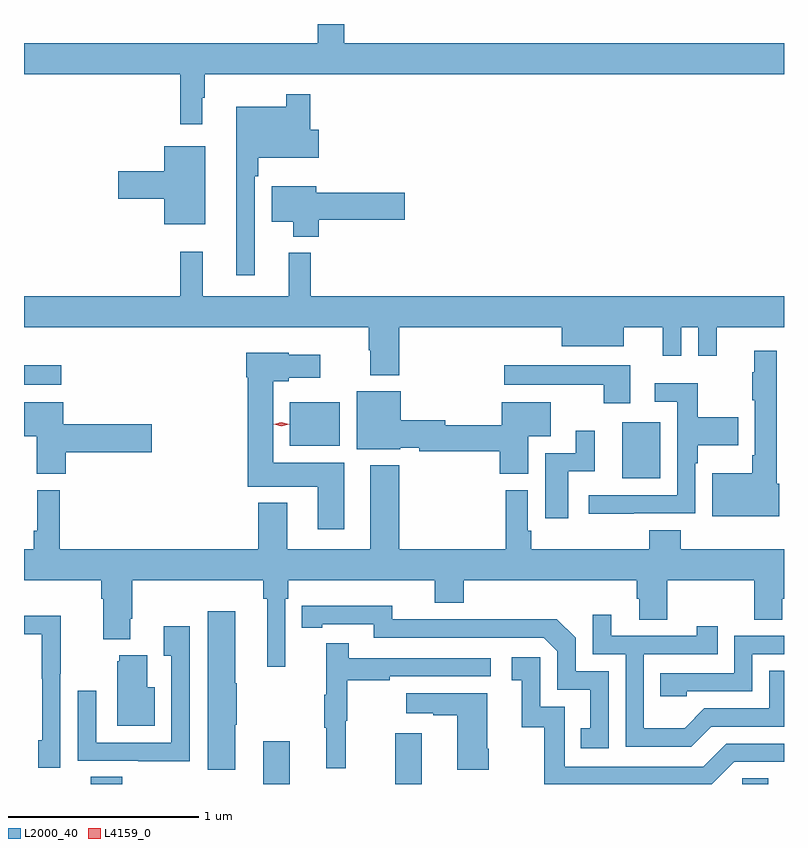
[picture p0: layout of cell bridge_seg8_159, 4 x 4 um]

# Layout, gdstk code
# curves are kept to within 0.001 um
import gdstk
lib = gdstk.Library(unit=1e-6, precision=1e-09)
def R(c, l, rs):  # rectangles x0, y0, x1, y1
    for r in rs: c.add(gdstk.rectangle(r[:2], r[2:], *l))
def P(c, l, *ps):  # polygons
    for p in ps: c.add(gdstk.Polygon(p, *l))
L2000_40 = (2000, 40)
L4159_0 = (4159, 0)

bridge_seg8_159 = lib.new_cell('bridge_seg8_159')
R(bridge_seg8_159, L2000_40, [(551.471,1131.412,551.636,1131.449), (552.377,1131.412,552.517,1131.637), (553.073,1131.412,553.213,1131.679), (554.898,1131.412,555.037,1131.443), (554.267,1133.021,554.467,1133.317), (552.518,1133.192,552.781,1133.422), (551.119,1133.513,551.314,1133.617)])
P(bridge_seg8_159, L2000_40, [(552.058,1135.025),(552.07,1135.025),(552.07,1135.148),(555.119,1135.148),(555.119,1135.312),(552.805,1135.312),(552.805,1135.412),(552.666,1135.412),(552.666,1135.312),(551.119,1135.312),(551.119,1135.148),(551.941,1135.148),(551.941,1134.885),(552.058,1134.885)],
  [(552.333,1134.611),(552.353,1134.611),(552.353,1134.707),(552.67,1134.707),(552.67,1134.855),(552.626,1134.855),(552.626,1135.042),(552.498,1135.042),(552.498,1134.976),(552.236,1134.976),(552.236,1134.09),(552.333,1134.09)],
  [(552.073,1134.769),(551.858,1134.769),(551.858,1134.638),(551.616,1134.638),(551.616,1134.491),(551.858,1134.491),(551.858,1134.359),(552.073,1134.359)],
  [(552.671,1134.382),(553.123,1134.382),(553.123,1134.524),(552.658,1134.524),(552.658,1134.559),(552.422,1134.559),(552.422,1134.371),(552.536,1134.371),(552.536,1134.293),(552.671,1134.293)],
  [(553.094,1133.816),(553.949,1133.816),(553.949,1133.717),(554.275,1133.717),(554.275,1133.816),(554.48,1133.816),(554.48,1133.667),(554.577,1133.667),(554.577,1133.816),(554.667,1133.816),(554.667,1133.667),(554.765,1133.667),(554.765,1133.816),(555.119,1133.816),(555.119,1133.98),(552.629,1133.98),(552.629,1134.208),(552.512,1134.208),(552.512,1133.98),(552.059,1133.98),(552.059,1134.214),(551.941,1134.214),(551.941,1133.98),(551.119,1133.98),(551.119,1133.816),(552.934,1133.816),(552.934,1133.696),(552.941,1133.696),(552.941,1133.564),(553.094,1133.564)],
  [(555.094,1132.991),(555.08,1132.991),(555.08,1133.692),(554.963,1133.692),(554.963,1133.579),(554.952,1133.579),(554.952,1133.431),(554.964,1133.431),(554.964,1133.143),(554.952,1133.143),(554.952,1133.047),(554.741,1133.047),(554.741,1132.82),(555.094,1132.82)],
  [(552.805,1133.104),(552.43,1133.104),(552.43,1133.531),(552.513,1133.531),(552.513,1133.549),(552.679,1133.549),(552.679,1133.671),(552.513,1133.671),(552.513,1133.683),(552.29,1133.683),(552.29,1133.553),(552.296,1133.553),(552.296,1132.976),(552.665,1132.976),(552.665,1132.752),(552.805,1132.752)],
  [(554.311,1133.617),(553.647,1133.617),(553.647,1133.513),(554.171,1133.513),(554.171,1133.415),(554.311,1133.415)],
  [(554.327,1132.836),(554.652,1132.836),(554.652,1133.099),(554.665,1133.099),(554.665,1133.195),(554.879,1133.195),(554.879,1133.343),(554.665,1133.343),(554.665,1133.521),(554.439,1133.521),(554.439,1133.424),(554.556,1133.424),(554.556,1132.932),(554.091,1132.932),(554.091,1132.835),(554.327,1132.835)],
  [(553.774,1133.243),(553.891,1133.243),(553.891,1133.422),(553.634,1133.422),(553.634,1133.3),(553.336,1133.3),(553.336,1133.327),(553.102,1133.327),(553.102,1133.479),(552.869,1133.479),(552.869,1133.174),(553.098,1133.174),(553.098,1133.183),(553.198,1133.183),(553.198,1133.164),(553.622,1133.164),(553.622,1133.046),(553.774,1133.046)],
  [(551.339,1133.159),(551.791,1133.159),(551.791,1133.306),(551.326,1133.306),(551.326,1133.422),(551.119,1133.422),(551.119,1133.243),(551.186,1133.243),(551.186,1133.046),(551.339,1133.046)],
  [(553.984,1133.058),(554.122,1133.058),(554.122,1133.272),(554.024,1133.272),(554.024,1133.154),(553.862,1133.154),(553.862,1132.812),(553.984,1132.812)],
  [(552.495,1132.388),(552.509,1132.388),(552.509,1132.484),(553.28,1132.484),(553.28,1132.367),(553.433,1132.367),(553.433,1132.484),(554.345,1132.484),(554.345,1132.386),(554.357,1132.386),(554.357,1132.276),(554.505,1132.276),(554.505,1132.484),(554.962,1132.484),(554.962,1132.276),(555.109,1132.276),(555.109,1132.386),(555.119,1132.386),(555.119,1132.648),(554.576,1132.648),(554.576,1132.747),(554.411,1132.747),(554.411,1132.648),(553.79,1132.648),(553.79,1132.744),(553.77,1132.744),(553.77,1132.957),(553.654,1132.957),(553.654,1132.648),(553.094,1132.648),(553.094,1133.089),(552.941,1133.089),(552.941,1132.648),(552.505,1132.648),(552.505,1132.891),(552.353,1132.891),(552.353,1132.648),(551.306,1132.648),(551.306,1132.957),(551.19,1132.957),(551.19,1132.744),(551.17,1132.744),(551.17,1132.648),(551.119,1132.648),(551.119,1132.484),(551.525,1132.484),(551.525,1132.388),(551.537,1132.388),(551.537,1132.175),(551.677,1132.175),(551.677,1132.282),(551.69,1132.282),(551.69,1132.484),(552.379,1132.484),(552.379,1132.388),(552.398,1132.388),(552.398,1132.029),(552.495,1132.029)],
  [(554.196,1132.005),(554.022,1132.005),(554.022,1132.182),(553.924,1132.28),(553.516,1132.28),(553.516,1132.278),(553.056,1132.278),(553.056,1132.351),(552.58,1132.35),(552.58,1132.234),(552.688,1132.234),(552.688,1132.254),(552.96,1132.254),(552.96,1132.182),(553.854,1132.182),(553.926,1132.11),(553.926,1131.909),(554.099,1131.909),(554.099,1131.705),(554.05,1131.705),(554.05,1131.6),(554.196,1131.6)],
  [(552.232,1131.724),(552.24,1131.724),(552.24,1131.941),(552.232,1131.941),(552.232,1132.321),(552.086,1132.321),(552.086,1131.486),(552.232,1131.486)],
  [(554.737,1131.714),(555.119,1131.714),(555.119,1132.009),(555.042,1132.009),(555.042,1131.81),(554.7,1131.81),(554.596,1131.706),(554.382,1131.706),(554.382,1132.095),(554.771,1132.095),(554.771,1132.243),(554.66,1132.243),(554.66,1132.191),(554.209,1132.191),(554.209,1132.303),(554.112,1132.303),(554.112,1132.095),(554.286,1132.095),(554.286,1131.609),(554.632,1131.609)],
  [(551.31,1131.991),(551.313,1131.991),(551.313,1132.298),(551.119,1132.298),(551.119,1132.2),(551.213,1132.2),(551.213,1131.967),(551.214,1131.967),(551.214,1131.642),(551.195,1131.642),(551.195,1131.498),(551.31,1131.498)],
  [(551.991,1132.243),(551.855,1132.243),(551.855,1132.087),(551.895,1132.087),(551.895,1131.63),(551.499,1131.63),(551.499,1131.904),(551.403,1131.904),(551.403,1131.534),(551.719,1131.534),(551.719,1131.533),(551.991,1131.533)],
  [(554.607,1131.9),(554.952,1131.9),(554.952,1132.095),(555.119,1132.095),(555.119,1132.191),(554.856,1132.191),(554.856,1131.996),(554.467,1131.996),(554.467,1131.873),(554.607,1131.873)],
  [(552.812,1131.744),(552.82,1131.744),(552.82,1131.958),(553.043,1131.958),(553.043,1131.978),(553.576,1131.978),(553.576,1132.074),(552.827,1132.074),(552.827,1132.153),(552.71,1132.153),(552.71,1131.881),(552.699,1131.881),(552.699,1131.707),(552.71,1131.707),(552.71,1131.495),(552.812,1131.495)],
  [(551.806,1131.922),(551.767,1131.922),(551.767,1132.09),(551.621,1132.09),(551.621,1132.059),(551.609,1132.059),(551.609,1131.719),(551.806,1131.719)],
  [(554.856,1131.528),(555.119,1131.528),(555.119,1131.624),(554.814,1131.624),(554.694,1131.504),(553.965,1131.504),(553.965,1131.819),(553.836,1131.819),(553.836,1132.078),(553.686,1132.078),(553.686,1131.957),(553.739,1131.957),(553.739,1131.711),(553.857,1131.711),(553.857,1131.412),(554.74,1131.412)],
  [(553.566,1131.598),(553.558,1131.598),(553.558,1131.889),(553.131,1131.889),(553.131,1131.785),(553.274,1131.785),(553.274,1131.775),(553.4,1131.775),(553.4,1131.486),(553.566,1131.486)])
P(bridge_seg8_159, L4159_0, [(552.474,1133.295),(552.433,1133.305),(552.432,1133.305),(552.433,1133.305),(552.474,1133.315),(552.514,1133.305),(552.514,1133.305),(552.514,1133.305)])

lib.write_gds('bridge_seg8_159.gds')
